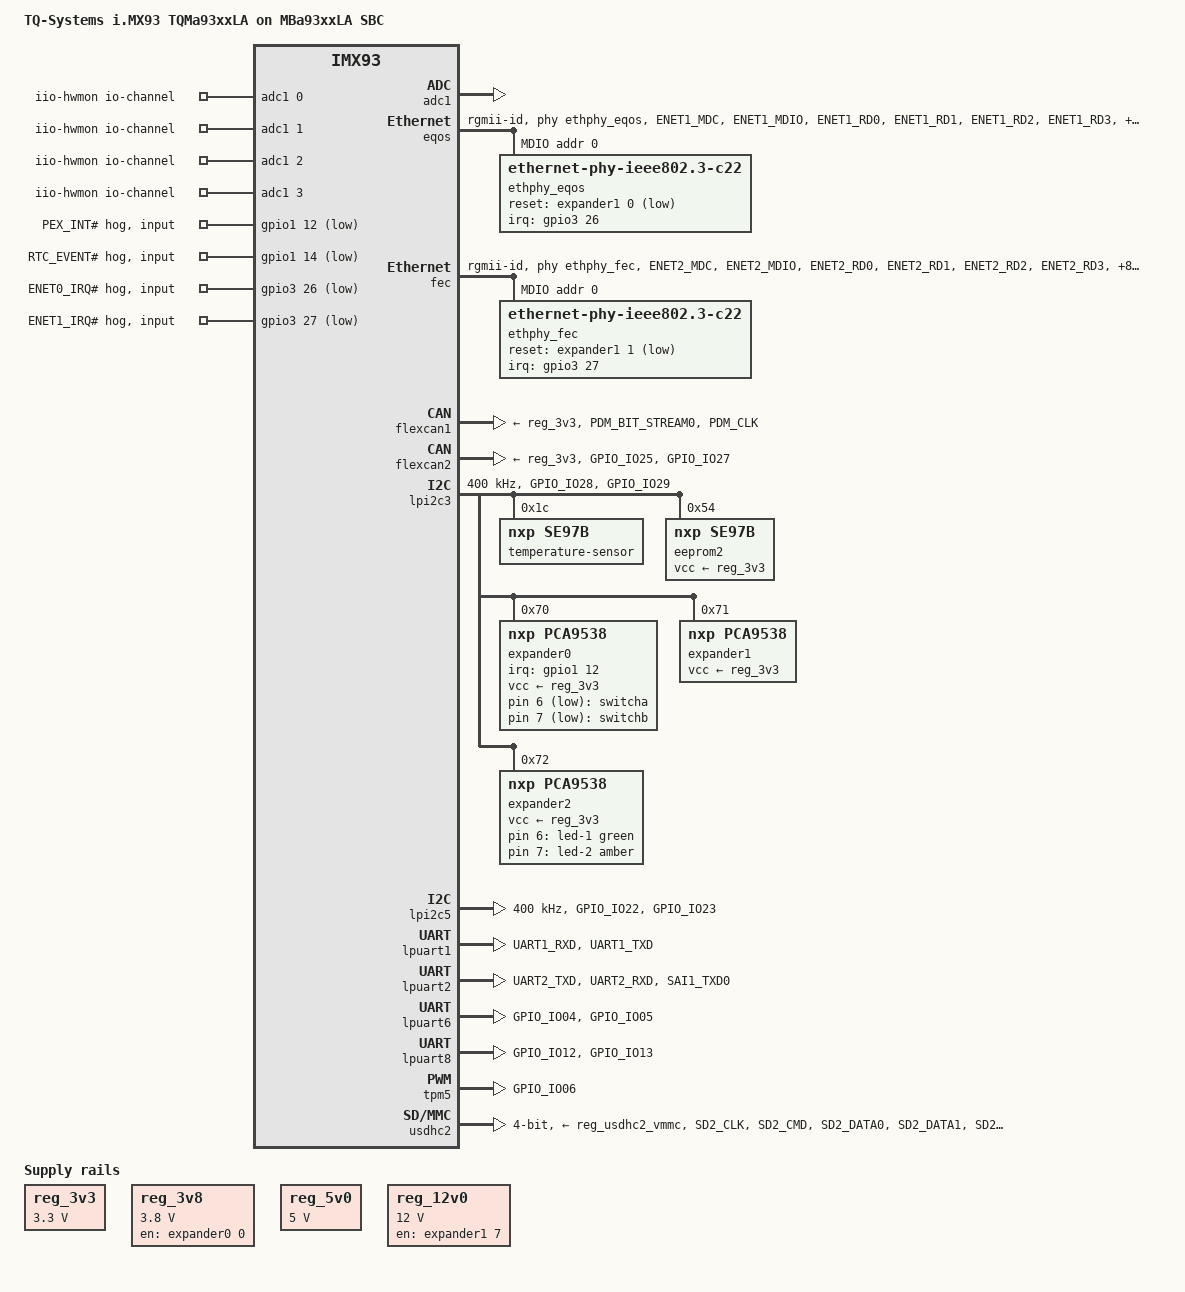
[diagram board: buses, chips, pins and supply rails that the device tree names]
// SPDX-License-Identifier: (GPL-2.0-or-later OR MIT)
/*
 * Copyright (c) 2022-2023 TQ-Systems GmbH <linux@ew.tq-group.com>,
 * D-82229 Seefeld, Germany.
 * Author: Markus Niebel
 * Author: Alexander Stein
 */
/dts-v1/;

#include <dt-bindings/input/input.h>
#include <dt-bindings/leds/common.h>
#include <dt-bindings/net/ti-dp83867.h>
#include <dt-bindings/pwm/pwm.h>
#include <dt-bindings/usb/pd.h>
#include "imx93-tqma9352.dtsi"

/{
	model = "TQ-Systems i.MX93 TQMa93xxLA on MBa93xxLA SBC";
	compatible = "tq,imx93-tqma9352-mba93xxla",
		     "tq,imx93-tqma9352", "fsl,imx93";

	chosen {
		stdout-path = &lpuart1;
	};

	aliases {
		eeprom0 = &eeprom0;
		rtc0 = &pcf85063;
		rtc1 = &bbnsm_rtc;
	};

	backlight_lvds: backlight {
		compatible = "pwm-backlight";
		pwms = <&tpm5 0 5000000 0>;
		brightness-levels = <0 4 8 16 32 64 128 255>;
		default-brightness-level = <7>;
		power-supply = <&reg_12v0>;
		enable-gpios = <&expander2 2 GPIO_ACTIVE_HIGH>;
		status = "disabled";
	};

	clk_dp: clk-dp {
		compatible = "fixed-clock";
		#clock-cells = <0>;
		clock-frequency = <26000000>;
	};

	gpio-keys {
		compatible = "gpio-keys";
		autorepeat;

		switch-a {
			label = "switcha";
			linux,code = <BTN_0>;
			gpios = <&expander0 6 GPIO_ACTIVE_LOW>;
			wakeup-source;
		};

		switch-b {
			label = "switchb";
			linux,code = <BTN_1>;
			gpios = <&expander0 7 GPIO_ACTIVE_LOW>;
			wakeup-source;
		};
	};

	gpio-leds {
		compatible = "gpio-leds";

		led-1 {
			color = <LED_COLOR_ID_GREEN>;
			function = LED_FUNCTION_STATUS;
			gpios = <&expander2 6 GPIO_ACTIVE_HIGH>;
			linux,default-trigger = "default-on";
		};

		led-2 {
			color = <LED_COLOR_ID_AMBER>;
			function = LED_FUNCTION_HEARTBEAT;
			gpios = <&expander2 7 GPIO_ACTIVE_HIGH>;
			linux,default-trigger = "heartbeat";
		};
	};

	iio-hwmon {
		compatible = "iio-hwmon";
		io-channels = <&adc1 0>, <&adc1 1>, <&adc1 2>, <&adc1 3>;
	};

	reg_3v3: regulator-3v3 {
		compatible = "regulator-fixed";
		regulator-name = "V_3V3_MB";
		regulator-min-microvolt = <3300000>;
		regulator-max-microvolt = <3300000>;
	};

	reg_3v8: regulator-3v8 {
		compatible = "regulator-fixed";
		regulator-name = "V_3V8";
		regulator-min-microvolt = <3800000>;
		regulator-max-microvolt = <3800000>;
		gpio = <&expander0 0 GPIO_ACTIVE_HIGH>;
		enable-active-high;
		/* TODO: this is supply for IOT module */
		regulator-always-on;
	};

	reg_5v0: regulator-5v0 {
		compatible = "regulator-fixed";
		regulator-name = "V_5V0_MB";
		regulator-min-microvolt = <5000000>;
		regulator-max-microvolt = <5000000>;
	};

	reg_12v0: regulator-12v0 {
		compatible = "regulator-fixed";
		regulator-name = "V_12V";
		regulator-min-microvolt = <12000000>;
		regulator-max-microvolt = <12000000>;
		gpio = <&expander1 7 GPIO_ACTIVE_HIGH>;
		enable-active-high;
	};
};

&adc1 {
	status = "okay";
};

&eqos {
	pinctrl-names = "default";
	pinctrl-0 = <&pinctrl_eqos>;
	phy-mode = "rgmii-id";
	phy-handle = <&ethphy_eqos>;
	status = "okay";

	mdio {
		compatible = "snps,dwmac-mdio";
		#address-cells = <1>;
		#size-cells = <0>;

		ethphy_eqos: ethernet-phy@0 {
			compatible = "ethernet-phy-ieee802.3-c22";
			reg = <0>;
			pinctrl-names = "default";
			pinctrl-0 = <&pinctrl_eqos_phy>;
			interrupt-parent = <&gpio3>;
			interrupts = <26 IRQ_TYPE_EDGE_FALLING>;
			reset-gpios = <&expander1 0 GPIO_ACTIVE_LOW>;
			reset-assert-us = <500000>;
			reset-deassert-us = <50000>;
			enet-phy-lane-no-swap;
			ti,rx-internal-delay = <DP83867_RGMIIDCTL_2_25_NS>;
			ti,tx-internal-delay = <DP83867_RGMIIDCTL_2_25_NS>;
			ti,fifo-depth = <DP83867_PHYCR_FIFO_DEPTH_4_B_NIB>;
			ti,dp83867-rxctrl-strap-quirk;
			ti,clk-output-sel = <DP83867_CLK_O_SEL_OFF>;
		};
	};
};

&fec {
	pinctrl-names = "default";
	pinctrl-0 = <&pinctrl_fec>;
	phy-mode = "rgmii-id";
	phy-handle = <&ethphy_fec>;
	fsl,magic-packet;
	status = "okay";

	mdio {
		#address-cells = <1>;
		#size-cells = <0>;
		clock-frequency = <5000000>;

		ethphy_fec: ethernet-phy@0 {
			compatible = "ethernet-phy-ieee802.3-c22";
			reg = <0>;
			pinctrl-names = "default";
			pinctrl-0 = <&pinctrl_fec_phy>;
			interrupt-parent = <&gpio3>;
			interrupts = <27 IRQ_TYPE_EDGE_FALLING>;
			reset-gpios = <&expander1 1 GPIO_ACTIVE_LOW>;
			reset-assert-us = <500000>;
			reset-deassert-us = <50000>;
			enet-phy-lane-no-swap;
			ti,rx-internal-delay = <DP83867_RGMIIDCTL_2_25_NS>;
			ti,tx-internal-delay = <DP83867_RGMIIDCTL_2_25_NS>;
			ti,fifo-depth = <DP83867_PHYCR_FIFO_DEPTH_4_B_NIB>;
			ti,dp83867-rxctrl-strap-quirk;
			ti,clk-output-sel = <DP83867_CLK_O_SEL_OFF>;
		};
	};
};

&flexcan1 {
	pinctrl-names = "default";
	pinctrl-0 = <&pinctrl_flexcan1>;
	xceiver-supply = <&reg_3v3>;
	status = "okay";
};

&flexcan2 {
	pinctrl-names = "default";
	pinctrl-0 = <&pinctrl_flexcan2>;
	xceiver-supply = <&reg_3v3>;
	status = "okay";
};

&gpio1 {
	expander-irq-hog {
		gpio-hog;
		gpios = <12 GPIO_ACTIVE_LOW>;
		input;
		line-name = "PEX_INT#";
	};

	rtc-irq-hog {
		gpio-hog;
		gpios = <14 GPIO_ACTIVE_LOW>;
		input;
		line-name = "RTC_EVENT#";
	};
};

&gpio3 {
	ethphy-eqos-irq-hog {
		gpio-hog;
		gpios = <26 GPIO_ACTIVE_LOW>;
		input;
		line-name = "ENET0_IRQ#";
	};

	ethphy-fec-irq-hog {
		gpio-hog;
		gpios = <27 GPIO_ACTIVE_LOW>;
		input;
		line-name = "ENET1_IRQ#";
	};
};

&lpi2c3 {
	#address-cells = <1>;
	#size-cells = <0>;
	clock-frequency = <400000>;
	pinctrl-names = "default", "sleep";
	pinctrl-0 = <&pinctrl_lpi2c3>;
	pinctrl-1 = <&pinctrl_lpi2c3>;
	status = "okay";

	temperature-sensor@1c {
		compatible = "nxp,se97b", "jedec,jc-42.4-temp";
		reg = <0x1c>;
	};

	eeprom2: eeprom@54 {
		compatible = "nxp,se97b", "atmel,24c02";
		reg = <0x54>;
		pagesize = <16>;
		vcc-supply = <&reg_3v3>;
	};

	expander0: gpio@70 {
		compatible = "nxp,pca9538";
		reg = <0x70>;
		pinctrl-names = "default";
		pinctrl-0 = <&pinctrl_pexp_irq>;
		gpio-controller;
		#gpio-cells = <2>;
		interrupt-controller;
		#interrupt-cells = <2>;
		interrupt-parent = <&gpio1>;
		interrupts = <12 IRQ_TYPE_LEVEL_LOW>;
		vcc-supply = <&reg_3v3>;
		gpio-line-names = "3V8_EN", "",
				  "", "IOT_PWRKEY",
				  "IOT_RESET", "IOT_W_DISABLE",
				  "BUTTON_A#", "BUTTON_B#";

		/*
		 * Controls the IOT W_DISABLE pin which is low active
		 * as disable signal but inverted as seen from the CPU.
		 * The output-low states, the signal is
		 * inactive, e.g. not disabled
		 */
		iot_wdisable_hog: iot-wdisable-hog {
			gpio-hog;
			gpios = <5 GPIO_ACTIVE_HIGH>;
			output-low;
			line-name = "IOT_W_DISABLE";
		};
	};

	expander1: gpio@71 {
		compatible = "nxp,pca9538";
		reg = <0x71>;
		gpio-controller;
		#gpio-cells = <2>;
		vcc-supply = <&reg_3v3>;
		gpio-line-names = "ENET1_RESET#", "ENET2_RESET#",
				  "USB_RESET#", "",
				  "WLAN_PD#", "WLAN_W_DISABLE#",
				  "WLAN_PERST#", "12V_EN";

		/*
		 * Controls the WiFi card PD pin which is low active
		 * as power down signal. The output-low states, the signal
		 * is inactive, e.g. not power down
		 */
		wlan-pd-hog {
			gpio-hog;
			gpios = <4 GPIO_ACTIVE_LOW>;
			output-low;
			line-name = "WLAN_PD#";
		};

		/*
		 * Controls the WiFi card disable pin which is low active
		 * as disable signal. The output-low states, the signal
		 * is inactive, e.g. not disabled
		 */
		wlan-wdisable-hog {
			gpio-hog;
			gpios = <5 GPIO_ACTIVE_LOW>;
			output-low;
			line-name = "WLAN_W_DISABLE#";
		};

		/*
		 * Controls the WiFi card reset pin which is low active
		 * as reset signal. The output-low states, the signal
		 * is inactive, e.g. not in reset
		 */
		wlan-perst-hog {
			gpio-hog;
			gpios = <6 GPIO_ACTIVE_LOW>;
			output-low;
			line-name = "WLAN_PERST#";
		};
	};

	expander2: gpio@72 {
		compatible = "nxp,pca9538";
		reg = <0x72>;
		gpio-controller;
		#gpio-cells = <2>;
		vcc-supply = <&reg_3v3>;
		gpio-line-names = "LCD_RESET#", "LCD_PWR_EN",
				  "LCD_BL_EN", "DP_EN",
				  "MIPI_CSI_EN", "MIPI_CSI_RST#",
				  "USER_LED1", "USER_LED2";
	};
};

&lpi2c5 {
	#address-cells = <1>;
	#size-cells = <0>;
	clock-frequency = <400000>;
	pinctrl-names = "default", "sleep";
	pinctrl-0 = <&pinctrl_lpi2c5>;
	pinctrl-1 = <&pinctrl_lpi2c5>;
	status = "okay";

	dp_bridge: dp-bridge@f {
		compatible = "toshiba,tc9595", "toshiba,tc358767";
		reg = <0x0f>;
		pinctrl-names = "default";
		pinctrl-0 = <&pinctrl_tc9595>;
		clock-names = "ref";
		clocks = <&clk_dp>;
		reset-gpios = <&expander2 3 GPIO_ACTIVE_HIGH>;
		interrupt-parent = <&gpio4>;
		interrupts = <29 IRQ_TYPE_EDGE_RISING>;
		toshiba,hpd-pin = <0>;
		status = "disabled";

		ports {
			#address-cells = <1>;
			#size-cells = <0>;

			port@0 {
				reg = <0>;

				dp_dsi_in: endpoint {
					data-lanes = <1 2 3 4>;
				};
			};
		};
	};
};

&lpuart1 {
	pinctrl-names = "default";
	pinctrl-0 = <&pinctrl_uart1>;
	status = "okay";
};

&lpuart2 {
	pinctrl-names = "default";
	pinctrl-0 = <&pinctrl_uart2>;
	linux,rs485-enabled-at-boot-time;
	status = "okay";
};

/* disabled per default, console for M33 */
&lpuart3 {
	pinctrl-names = "default";
	pinctrl-0 = <&pinctrl_uart3>;
	status = "disabled";
};

&lpuart6 {
	pinctrl-names = "default";
	pinctrl-0 = <&pinctrl_uart6>;
	status = "okay";
};

&lpuart8 {
	pinctrl-names = "default";
	pinctrl-0 = <&pinctrl_uart8>;
	status = "okay";
};

&pcf85063 {
	/* RTC_EVENT# is connected on MBa93xxLA */
	pinctrl-names = "default";
	pinctrl-0 = <&pinctrl_pcf85063>;
	interrupt-parent = <&gpio1>;
	interrupts = <14 IRQ_TYPE_EDGE_FALLING>;
};

&tpm5 {
	pinctrl-names = "default";
	pinctrl-0 = <&pinctrl_tpm5>;
};

&usdhc2 {
	pinctrl-names = "default", "state_100mhz", "state_200mhz";
	pinctrl-0 = <&pinctrl_usdhc2_hs>, <&pinctrl_usdhc2_gpio>;
	pinctrl-1 = <&pinctrl_usdhc2_uhs>, <&pinctrl_usdhc2_gpio>;
	pinctrl-2 = <&pinctrl_usdhc2_uhs>, <&pinctrl_usdhc2_gpio>;
	cd-gpios = <&gpio3 00 GPIO_ACTIVE_LOW>;
	vmmc-supply = <&reg_usdhc2_vmmc>;
	bus-width = <4>;
	no-sdio;
	no-mmc;
	disable-wp;
	status = "okay";
};

&iomuxc {
	pinctrl_eqos: eqosgrp {
		fsl,pins = <
			/* PD | FSEL_2 | DSE X4 */
			MX93_PAD_ENET1_MDC__ENET_QOS_MDC		0x51e
			MX93_PAD_ENET1_MDIO__ENET_QOS_MDIO		0x4000051e
			/* PD | FSEL_2 | DSE X6 */
			MX93_PAD_ENET1_RD0__ENET_QOS_RGMII_RD0		0x57e
			MX93_PAD_ENET1_RD1__ENET_QOS_RGMII_RD1		0x57e
			MX93_PAD_ENET1_RD2__ENET_QOS_RGMII_RD2		0x57e
			MX93_PAD_ENET1_RD3__ENET_QOS_RGMII_RD3		0x57e
			/* PD | FSEL_3 | DSE X6 */
			MX93_PAD_ENET1_RXC__CCM_ENET_QOS_CLOCK_GENERATE_RX_CLK	0x5fe
			MX93_PAD_ENET1_RX_CTL__ENET_QOS_RGMII_RX_CTL	0x57e
			/* PD | FSEL_2 | DSE X4 */
			MX93_PAD_ENET1_TD0__ENET_QOS_RGMII_TD0		0x51e
			MX93_PAD_ENET1_TD1__ENET_QOS_RGMII_TD1		0x51e
			MX93_PAD_ENET1_TD2__ENET_QOS_RGMII_TD2		0x51e
			MX93_PAD_ENET1_TD3__ENET_QOS_RGMII_TD3		0x51e
			MX93_PAD_ENET1_TX_CTL__ENET_QOS_RGMII_TX_CTL	0x51e
			/* PD | FSEL_3 | DSE X3 */
			MX93_PAD_ENET1_TXC__CCM_ENET_QOS_CLOCK_GENERATE_TX_CLK	0x58e
		>;
	};

	pinctrl_eqos_phy: eqosphygrp {
		fsl,pins = <
			MX93_PAD_CCM_CLKO1__GPIO3_IO26		0x1306
		>;
	};

	pinctrl_fec: fecgrp {
		fsl,pins = <
			/* PD | FSEL_2 | DSE X4 */
			MX93_PAD_ENET2_MDC__ENET1_MDC			0x51e
			MX93_PAD_ENET2_MDIO__ENET1_MDIO			0x4000051e
			/* PD | FSEL_2 | DSE X6 */
			MX93_PAD_ENET2_RD0__ENET1_RGMII_RD0		0x57e
			MX93_PAD_ENET2_RD1__ENET1_RGMII_RD1		0x57e
			MX93_PAD_ENET2_RD2__ENET1_RGMII_RD2		0x57e
			MX93_PAD_ENET2_RD3__ENET1_RGMII_RD3		0x57e
			/* PD | FSEL_3 | DSE X6 */
			MX93_PAD_ENET2_RXC__ENET1_RGMII_RXC		0x5fe
			MX93_PAD_ENET2_RX_CTL__ENET1_RGMII_RX_CTL	0x57e
			/* PD | FSEL_2 | DSE X4 */
			MX93_PAD_ENET2_TD0__ENET1_RGMII_TD0		0x51e
			MX93_PAD_ENET2_TD1__ENET1_RGMII_TD1		0x51e
			MX93_PAD_ENET2_TD2__ENET1_RGMII_TD2		0x51e
			MX93_PAD_ENET2_TD3__ENET1_RGMII_TD3		0x51e
			MX93_PAD_ENET2_TX_CTL__ENET1_RGMII_TX_CTL	0x51e
			/* PD | FSEL_3 | DSE X3 */
			MX93_PAD_ENET2_TXC__ENET1_RGMII_TXC		0x58e
		>;
	};

	pinctrl_fec_phy: fecphygrp {
		fsl,pins = <
			MX93_PAD_CCM_CLKO2__GPIO3_IO27		0x1306
		>;
	};

	pinctrl_flexcan1: flexcan1grp {
		fsl,pins = <
			MX93_PAD_PDM_BIT_STREAM0__CAN1_RX	0x139e
			MX93_PAD_PDM_CLK__CAN1_TX		0x139e
		>;
	};

	pinctrl_flexcan2: flexcan2grp {
		fsl,pins = <
			MX93_PAD_GPIO_IO25__CAN2_TX		0x139e
			MX93_PAD_GPIO_IO27__CAN2_RX		0x139e
		>;
	};

	pinctrl_lpi2c3: lpi2c3grp {
		fsl,pins = <
			MX93_PAD_GPIO_IO28__LPI2C3_SDA		0x40000b9e
			MX93_PAD_GPIO_IO29__LPI2C3_SCL		0x40000b9e
		>;
	};

	pinctrl_lpi2c5: lpi2c5grp {
		fsl,pins = <
			MX93_PAD_GPIO_IO22__LPI2C5_SDA		0x40000b9e
			MX93_PAD_GPIO_IO23__LPI2C5_SCL		0x40000b9e
		>;
	};

	pinctrl_pcf85063: pcf85063grp {
		fsl,pins = <
			MX93_PAD_SAI1_RXD0__GPIO1_IO14		0x1306
		>;
	};

	pinctrl_pexp_irq: pexpirqgrp {
		fsl,pins = <
			MX93_PAD_SAI1_TXC__GPIO1_IO12		0x1306
		>;
	};

	pinctrl_tc9595: tc9595-grp {
		fsl,pins = <
			/* DP_IRQ */
			MX93_PAD_CCM_CLKO4__GPIO4_IO29		0x1306
		>;
	};

	pinctrl_tpm5: tpm5grp {
		fsl,pins = <
			MX93_PAD_GPIO_IO06__TPM5_CH0		0x57e
		>;
	};

	pinctrl_typec: typecgrp {
		fsl,pins = <
			MX93_PAD_I2C2_SCL__GPIO1_IO02		0x1306
		>;
	};

	pinctrl_uart1: uart1grp {
		fsl,pins = <
			MX93_PAD_UART1_RXD__LPUART1_RX		0x31e
			MX93_PAD_UART1_TXD__LPUART1_TX		0x31e
		>;
	};

	pinctrl_uart2: uart2grp {
		fsl,pins = <
			MX93_PAD_UART2_TXD__LPUART2_TX		0x31e
			MX93_PAD_UART2_RXD__LPUART2_RX		0x31e
			MX93_PAD_SAI1_TXD0__LPUART2_RTS_B	0x31e
		>;
	};

	pinctrl_uart3: uart3grp {
		fsl,pins = <
			MX93_PAD_GPIO_IO14__LPUART3_TX		0x31e
			MX93_PAD_GPIO_IO15__LPUART3_RX		0x31e
		>;
	};

	pinctrl_uart6: uart6grp {
		fsl,pins = <
			MX93_PAD_GPIO_IO04__LPUART6_TX		0x31e
			MX93_PAD_GPIO_IO05__LPUART6_RX		0x31e
		>;
	};

	pinctrl_uart8: uart8grp {
		fsl,pins = <
			MX93_PAD_GPIO_IO12__LPUART8_TX		0x31e
			MX93_PAD_GPIO_IO13__LPUART8_RX		0x31e
		>;
	};

	pinctrl_usdhc2_gpio: usdhc2gpiogrp {
		fsl,pins = <
			MX93_PAD_SD2_CD_B__GPIO3_IO00		0x31e
		>;
	};

	pinctrl_usdhc2_hs: usdhc2hsgrp {
		fsl,pins = <
			/* HYS | PD | PU | FSEL_3 | DSE X5 */
			MX93_PAD_SD2_CLK__USDHC2_CLK		0x17be
			/* HYS | PD | PU | FSEL_3 | DSE X4 */
			MX93_PAD_SD2_CMD__USDHC2_CMD		0x139e
			/* HYS | PD | PU | FSEL_3 | DSE X3 */
			MX93_PAD_SD2_DATA0__USDHC2_DATA0	0x138e
			MX93_PAD_SD2_DATA1__USDHC2_DATA1	0x138e
			MX93_PAD_SD2_DATA2__USDHC2_DATA2	0x138e
			MX93_PAD_SD2_DATA3__USDHC2_DATA3	0x138e
			/* PD | PU | FSEL_2 | DSE X3 */
			MX93_PAD_SD2_VSELECT__USDHC2_VSELECT	0x50e
		>;
	};

	pinctrl_usdhc2_uhs: usdhc2uhsgrp {
		fsl,pins = <
			/* HYS | PD | PU | FSEL_3 | DSE X6 */
			MX93_PAD_SD2_CLK__USDHC2_CLK		0x17fe
			/* HYS | PD | PU | FSEL_3 | DSE X4 */
			MX93_PAD_SD2_CMD__USDHC2_CMD		0x139e
			MX93_PAD_SD2_DATA0__USDHC2_DATA0	0x139e
			MX93_PAD_SD2_DATA1__USDHC2_DATA1	0x139e
			MX93_PAD_SD2_DATA2__USDHC2_DATA2	0x139e
			MX93_PAD_SD2_DATA3__USDHC2_DATA3	0x139e
			/* PD | PU | FSEL_2 | DSE X3 */
			MX93_PAD_SD2_VSELECT__USDHC2_VSELECT	0x50e
		>;
	};
};
